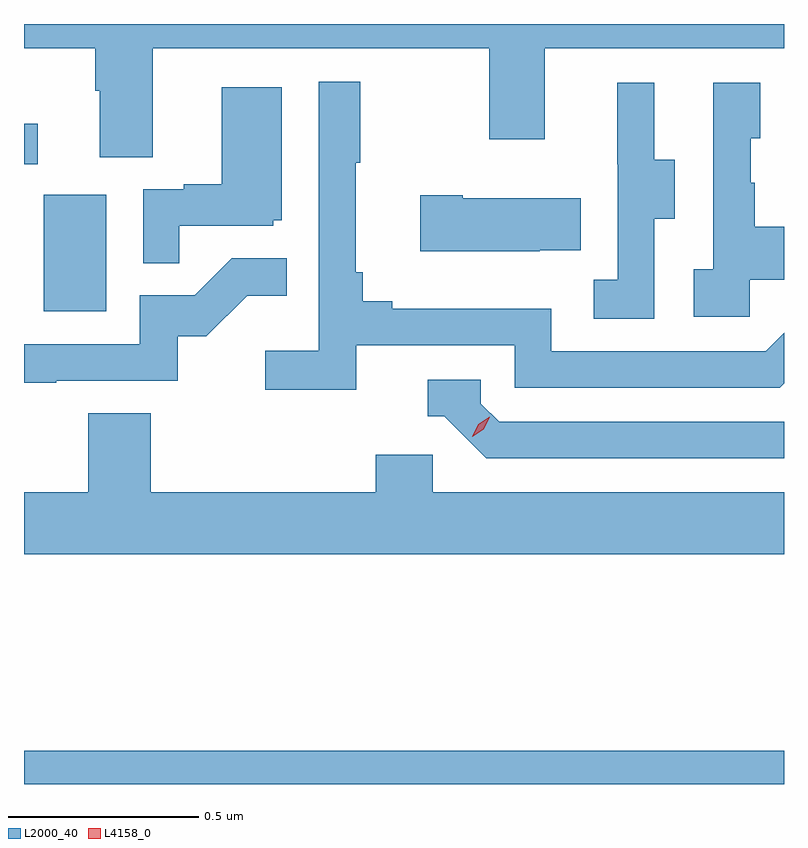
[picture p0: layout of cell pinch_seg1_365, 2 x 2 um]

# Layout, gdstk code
import gdstk
lib = gdstk.Library(unit=1e-6, precision=1e-09)
def R(c, l, rs):  # rectangles x0, y0, x1, y1
    for r in rs: c.add(gdstk.rectangle(r[:2], r[2:], *l))
def P(c, l, *ps):  # polygons
    for p in ps: c.add(gdstk.Polygon(p, *l))
L2000_40 = (2000, 40)
L4158_0 = (4158, 0)

pinch_seg1_365 = lib.new_cell('pinch_seg1_365')
R(pinch_seg1_365, L2000_40, [(982.006,553.792,984.006,553.88), (982.058,555.036,982.222,555.343), (982.006,555.423,982.042,555.529)])
P(pinch_seg1_365, L2000_40, [(982.345,555.728),(983.23,555.728),(983.23,555.489),(983.377,555.489),(983.377,555.728),(984.006,555.728),(984.006,555.792),(982.006,555.792),(982.006,555.728),(982.193,555.728),(982.193,555.616),(982.205,555.616),(982.205,555.442),(982.345,555.442)],
  [(982.88,554.946),(983.298,554.946),(983.298,554.835),(983.995,554.835),(984.006,554.846),(984.006,554.979),(983.958,554.931),(983.394,554.931),(983.394,555.043),(982.975,555.043),(982.975,555.062),(982.898,555.062),(982.898,555.139),(982.879,555.139),(982.879,555.427),(982.891,555.427),(982.891,555.64),(982.782,555.64),(982.782,554.932),(982.641,554.932),(982.641,554.83),(982.88,554.83)],
  [(983.916,555.119),(984.006,555.119),(984.006,555.259),(983.929,555.259),(983.929,555.374),(983.919,555.374),(983.919,555.492),(983.944,555.492),(983.944,555.637),(983.82,555.637),(983.82,555.146),(983.769,555.146),(983.769,555.021),(983.916,555.021)],
  [(983.664,555.28),(983.719,555.28),(983.719,555.435),(983.665,555.435),(983.665,555.637),(983.567,555.637),(983.567,555.423),(983.568,555.423),(983.568,555.119),(983.505,555.119),(983.505,555.016),(983.664,555.016)],
  [(982.415,555.261),(982.662,555.261),(982.662,555.276),(982.684,555.276),(982.684,555.625),(982.526,555.625),(982.526,555.37),(982.427,555.37),(982.427,555.357),(982.32,555.357),(982.32,555.163),(982.415,555.163)],
  [(983.363,555.197),(983.471,555.197),(983.471,555.334),(983.161,555.334),(983.161,555.342),(983.049,555.342),(983.049,555.194),(983.363,555.194)],
  [(982.091,554.853),(982.41,554.853),(982.41,554.97),(982.486,554.97),(982.593,555.077),(982.697,555.077),(982.697,555.176),(982.553,555.176),(982.455,555.078),(982.311,555.078),(982.311,554.949),(982.006,554.949),(982.006,554.848),(982.091,554.848)],
  [(984.006,554.745),(983.256,554.745),(983.208,554.793),(983.208,554.856),(983.069,554.856),(983.069,554.76),(983.112,554.76),(983.223,554.649),(984.006,554.649)],
  [(984.006,554.56),(983.082,554.56),(983.082,554.658),(982.931,554.658),(982.931,554.56),(982.34,554.56),(982.34,554.768),(982.175,554.768),(982.175,554.56),(982.006,554.56),(982.006,554.396),(984.006,554.396)])
P(pinch_seg1_365, L4158_0, [(983.186,554.706),(983.186,554.706),(983.201,554.739),(983.232,554.759),(983.232,554.759),(983.232,554.759),(983.216,554.726),(983.186,554.706)])

lib.write_gds('pinch_seg1_365.gds')
